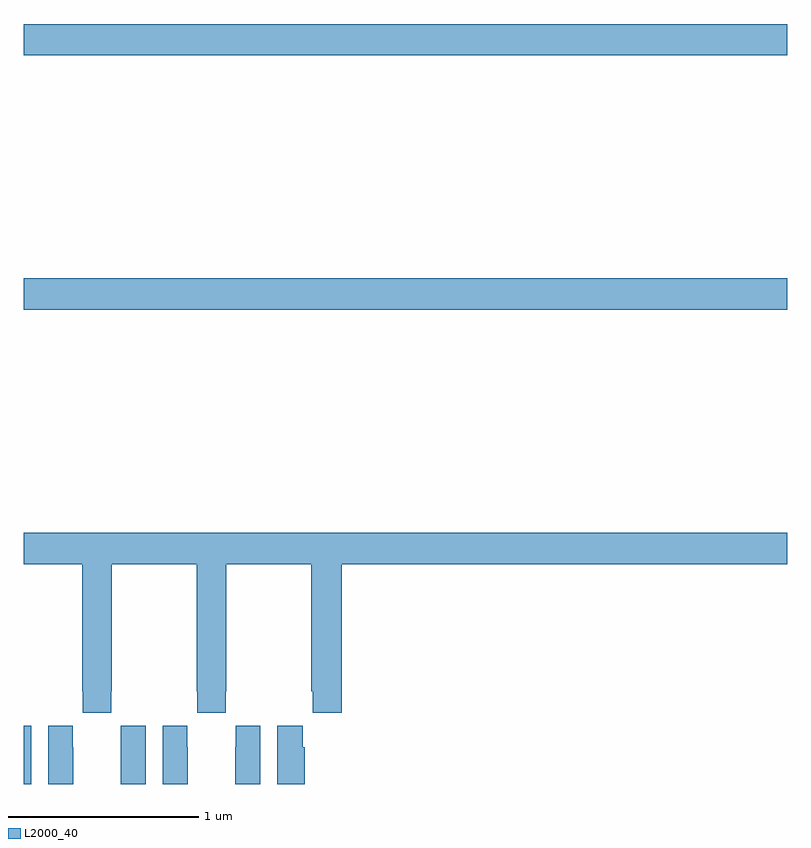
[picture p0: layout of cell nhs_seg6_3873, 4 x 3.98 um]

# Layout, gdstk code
import gdstk
lib = gdstk.Library(unit=1e-6, precision=1e-09)
def R(c, l, rs):  # rectangles x0, y0, x1, y1
    for r in rs: c.add(gdstk.rectangle(r[:2], r[2:], *l))
def P(c, l, *ps):  # polygons
    for p in ps: c.add(gdstk.Polygon(p, *l))
L2000_40 = (2000, 40)

nhs_seg6_3873 = lib.new_cell('nhs_seg6_3873')
R(nhs_seg6_3873, L2000_40, [(339,963.5,339.04,963.805), (339,965.984,343,966.148), (339,967.316,343,967.48)])
P(nhs_seg6_3873, L2000_40, [(339.459,963.985),(339.462,963.985),(339.462,964.652),(339.907,964.652),(339.907,963.985),(339.909,963.985),(339.909,963.873),(340.059,963.873),(340.059,963.985),(340.062,963.985),(340.062,964.652),(340.507,964.652),(340.507,963.985),(340.513,963.985),(340.513,963.873),(340.667,963.873),(340.667,964.652),(343,964.652),(343,964.816),(339,964.816),(339,964.652),(339.307,964.652),(339.307,963.985),(339.309,963.985),(339.309,963.873),(339.459,963.873)],
  [(339.259,963.692),(339.258,963.692),(339.258,963.805),(339.128,963.805),(339.128,963.5),(339.259,963.5)],
  [(339.64,963.805),(339.51,963.805),(339.51,963.692),(339.509,963.692),(339.509,963.5),(339.64,963.5)],
  [(339.859,963.692),(339.858,963.692),(339.858,963.805),(339.728,963.805),(339.728,963.5),(339.859,963.5)],
  [(340.24,963.805),(340.11,963.805),(340.11,963.692),(340.109,963.692),(340.109,963.5),(340.24,963.5)],
  [(340.472,963.692),(340.462,963.692),(340.462,963.805),(340.328,963.805),(340.328,963.5),(340.472,963.5)])

lib.write_gds('nhs_seg6_3873.gds')
